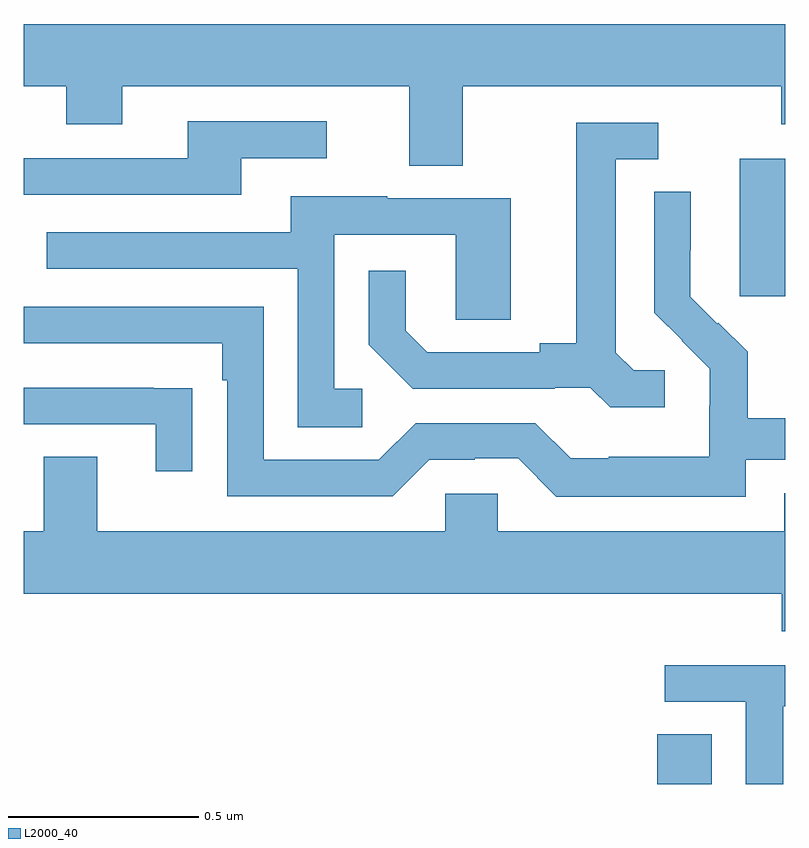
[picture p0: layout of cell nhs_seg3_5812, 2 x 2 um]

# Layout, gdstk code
import gdstk
lib = gdstk.Library(unit=1e-6, precision=1e-09)
def R(c, l, rs):  # rectangles x0, y0, x1, y1
    for r in rs: c.add(gdstk.rectangle(r[:2], r[2:], *l))
def P(c, l, *ps):  # polygons
    for p in ps: c.add(gdstk.Polygon(p, *l))
L2000_40 = (2000, 40)

nhs_seg3_5812 = lib.new_cell('nhs_seg3_5812')
R(nhs_seg3_5812, L2000_40, [(184.664,716.4,184.807,716.531), (184.88,717.681,185,718.042)])
P(nhs_seg3_5812, L2000_40, [(184.153,718.232),(184.99,718.232),(184.99,718.133),(185,718.133),(185,718.396),(183,718.396),(183,718.232),(183.112,718.232),(183.112,718.133),(183.259,718.133),(183.259,718.232),(184.013,718.232),(184.013,718.024),(184.153,718.024)],
  [(183.571,718.044),(183.796,718.044),(183.796,718.14),(183.431,718.14),(183.431,718.044),(183,718.044),(183,717.948),(183.571,717.948)],
  [(184.684,717.486),(184.602,717.486),(184.555,717.533),(184.555,718.041),(184.666,718.041),(184.666,718.137),(184.451,718.137),(184.451,717.557),(184.355,717.557),(184.355,717.534),(184.06,717.534),(184.003,717.591),(184.003,717.748),(183.906,717.748),(183.906,717.554),(184.022,717.438),(184.394,717.438),(184.394,717.441),(184.488,717.441),(184.54,717.389),(184.684,717.389)],
  [(184.896,717.252),(185,717.252),(185,717.361),(184.901,717.361),(184.901,717.535),(184.824,717.612),(184.821,717.609),(184.751,717.68),(184.751,717.802),(184.752,717.802),(184.752,717.956),(184.656,717.956),(184.656,717.638),(184.729,717.565),(184.728,717.564),(184.802,717.49),(184.802,717.393),(184.8,717.393),(184.8,717.259),(184.537,717.259),(184.537,717.255),(184.437,717.255),(184.344,717.348),(184.029,717.348),(183.933,717.252),(183.63,717.252),(183.63,717.654),(183,717.654),(183,717.558),(183.521,717.558),(183.521,717.461),(183.534,717.461),(183.534,717.156),(183.969,717.156),(184.065,717.252),(184.184,717.252),(184.184,717.255),(184.299,717.255),(184.399,717.155),(184.896,717.155)],
  [(183.889,717.438),(183.816,717.438),(183.816,717.843),(184.134,717.843),(184.134,717.619),(184.279,717.619),(184.279,717.939),(183.955,717.939),(183.955,717.943),(183.701,717.943),(183.701,717.849),(183.061,717.849),(183.061,717.753),(183.72,717.753),(183.72,717.337),(183.889,717.337)],
  [(183.443,717.44),(183.341,717.44),(183.341,717.441),(183,717.441),(183,717.345),(183.347,717.345),(183.347,717.222),(183.443,717.222)],
  [(185,717.163),(184.997,717.163),(184.997,717.064),(184.245,717.064),(184.245,717.162),(184.107,717.162),(184.107,717.064),(183.193,717.064),(183.193,717.259),(183.053,717.259),(183.053,717.064),(183,717.064),(183,716.9),(184.991,716.9),(184.991,716.801),(185,716.801)],
  [(184.995,716.604),(185,716.604),(185,716.712),(184.683,716.712),(184.683,716.616),(184.896,716.616),(184.896,716.4),(184.995,716.4)])

lib.write_gds('nhs_seg3_5812.gds')
